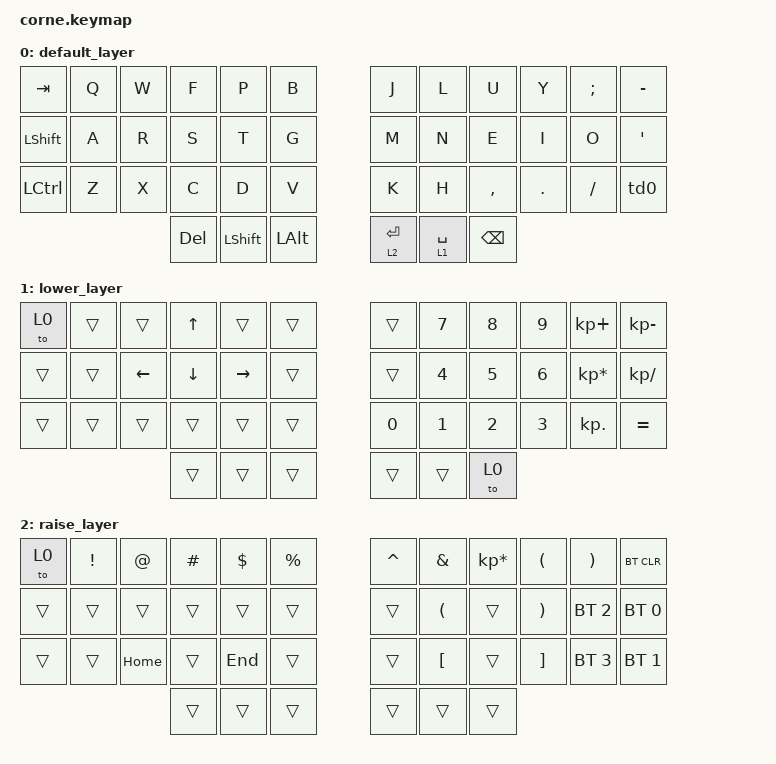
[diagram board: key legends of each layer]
/* 
 * Copyright (c) 2020 The ZMK Contributors
 *
 * SPDX-License-Identifier: MIT
 */

#include <behaviors.dtsi>
#include <dt-bindings/zmk/keys.h>
#include <dt-bindings/zmk/bt.h>

/ {
        behaviors {
        td0: tap_dance_0 {
            compatible = "zmk,behavior-tap-dance";
            label = "TAP_DANCE_0";
            #binding-cells = <0>;
            tapping-term-ms = <200>;
            bindings = <&kp LGUI>, <&to 1>;
        };
    };
        
        keymap {
                compatible = "zmk,keymap";

                default_layer {
                        bindings = <
   &kp TAB      &kp Q   &kp W   &kp F   &kp P   &kp B   &kp J &kp L  &kp U     &kp Y   &kp SEMI &kp MINUS
   &kp LSHIFT   &kp A   &kp R   &kp S   &kp T   &kp G   &kp M &kp N  &kp E     &kp I   &kp O    &kp SQT
   &kp LCTRL    &kp Z   &kp X   &kp C   &kp D   &kp V   &kp K &kp H  &kp COMMA &kp DOT &kp FSLH &td0
                          &kp DEL &kp LSHIFT &kp LALT   &lt 2 RET &lt 1 SPACE &kp BSPC
                        >;
                };
                lower_layer {
                        bindings = <
   &to 0      &trans  &trans   &kp UP       &trans       &trans         &trans    &kp N7   &kp N8    &kp N9    &kp KP_PLUS      &kp KP_MINUS
   &trans     &trans  &kp LEFT &kp DOWN     &kp RIGHT    &trans         &trans    &kp N4   &kp N5    &kp N6    &kp KP_MULTIPLY  &kp KP_DIVIDE
   &trans     &trans  &trans   &trans       &trans       &trans         &kp N0    &kp N1   &kp N2    &kp N3    &kp KP_DOT       &kp EQUAL
                          	  &trans     &trans       &trans      &trans    &trans          &to 0
                        >;
                };

                raise_layer {
                        bindings = <
   &to 0  &kp EXCL &kp AT       &kp HASH &kp DLLR &kp PRCNT    &kp CARET  &kp AMPS    &kp KP_MULTIPLY   &kp LPAR   &kp RPAR       &bt BT_CLR
   &trans &trans   &trans       &trans   &trans   &trans       &trans     &kp LPAR    &trans            &kp RPAR   &bt BT_SEL 2   &bt BT_SEL 0
   &trans &trans   &kp HOME     &trans   &kp END   &trans      &trans     &kp LBKT    &trans            &kp RBKT   &bt BT_SEL 3   &bt BT_SEL 1
                    	        &trans &trans   &trans         &trans   &trans    &trans
                        >;
                };
        };
};
